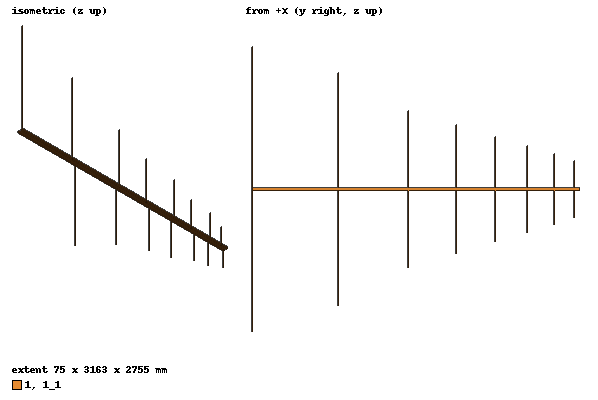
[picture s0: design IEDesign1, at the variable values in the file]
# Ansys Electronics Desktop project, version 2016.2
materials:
  vacuum: permittivity=1
  copper: permeability=0.999991 conductivity=58000000
  aluminum: permeability=1.000021 conductivity=38000000

design IEDesign1 (HFSS-IE, model units mm)
options: PECThreshold=1e+030 CondThreshold=10000
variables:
  wx = 2.5cm
  wz = 2.5cm
  wy = d1+d2+d3+d4+d5+d6+d7+e
  teta = 0deg
  d1 = 0.827meter
  L1 = -2.78meter
  L2 = 2.28meter
  d2 = 0.679meter
  d3 = 0.459meter
  d4 = 0.378meter
  d5 = 0.31meter
  d6 = 0.255meter
  d7 = 0.2meter
  L3 = -1.54meter
  L4 = 1.27meter
  L5 = -1.04meter
  L6 = 0.856meter
  L7 = 0.704meter
  L8 = 0.578meter
  e = 0.05meter
  alfa = 0.15deg
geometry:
  coordinate_system cordinate1 = origin=(wx/2, 0cm, 0cm) x=(1cm, 0cm, 0cm) y=(0cm, 1cm, 0cm)
  Box1 = box(corner=(0mm, 0mm, -wz/2), size=(wx, wy, wz)) in cordinate1
  coordinate_system dordinate2 = origin=(-wx/2, 0cm, 0cm) x=(1cm, 0cm, 0cm) y=(0cm, 1cm, 0cm)
  Box2 = box(corner=(0mm, 0mm, -wz/2), size=(-wx, wy, wz)) in dordinate2
  Box1.rotate(axis=Z, angle=teta) in dordinate2
  Box2.rotate(axis=Z, angle=-teta) in dordinate2
  1 [copper] = cylinder(axis=Z, base_centre=(-wx/2, 0mm, -1.25cm), radius=0.5cm, height=-L1/2) in dordinate2
  2 = cylinder(axis=Z, base_centre=(-wx/2, d1, 1.25cm), radius=0.5cm, height=-L2/2) in dordinate2
  3 = cylinder(axis=Z, base_centre=(-wx/2, d1+d2, -1.25cm), radius=0.5cm, height=-L3/2) in dordinate2
  4 = cylinder(axis=Z, base_centre=(-wx/2, d1+d2+d3, 1.25cm), radius=0.5cm, height=-L4/2) in dordinate2
  5 = cylinder(axis=Z, base_centre=(-wx/2, d1+d2+d3+d4, -1.25cm), radius=0.5cm, height=-L5/2) in dordinate2
  6 = cylinder(axis=Z, base_centre=(-wx/2, d1+d2+d3+d4+d5, 1.25cm), radius=0.5cm, height=-L6/2) in dordinate2
  7 = cylinder(axis=Z, base_centre=(-wx/2, d1+d2+d3+d4+d5+d6, -1.25cm), radius=0.5cm, height=L7/2) in dordinate2
  8 = cylinder(axis=Z, base_centre=(-wx/2, d1+d2+d3+d4+d5+d6+d7, 1.25cm), radius=0.5cm, height=-L8/2) in dordinate2
  1_1 [copper] = cylinder(axis=Z, base_centre=(wx/2, 0mm, 1.25cm), radius=0.5cm, height=L1/2) in cordinate1
  2_2 = cylinder(axis=Z, base_centre=(wx/2, d1, -1.25cm), radius=0.5cm, height=L2/2) in cordinate1
  3_3 = cylinder(axis=Z, base_centre=(wx/2, d1+d2, 1.25cm), radius=0.5cm, height=L3/2) in cordinate1
  4_4 = cylinder(axis=Z, base_centre=(wx/2, d1+d2+d3, -1.25cm), radius=0.5cm, height=L4/2) in cordinate1
  5_5 = cylinder(axis=Z, base_centre=(wx/2, d1+d2+d3+d4, 1.25cm), radius=0.5cm, height=L5/2) in cordinate1
  6_6 = cylinder(axis=Z, base_centre=(wx/2, d1+d2+d3+d4+d5, -1.25cm), radius=0.5cm, height=L6/2) in cordinate1
  7_7 = cylinder(axis=Z, base_centre=(wx/2, d1+d2+d3+d4+d5+d6, 1.25cm), radius=0.5cm, height=-L7/2) in cordinate1
  8_8 = cylinder(axis=Z, base_centre=(wx/2, d1+d2+d3+d4+d5+d6+d7, -1.25cm), radius=0.5cm, height=L8/2) in cordinate1
  Polyline1 [Copper] = polyline(y=d1+d2+d3+d4+d5+d6+d7+e/2, xz in mm: (-25, -6.25) (-25, 6.25) (5, 6.25) (5, -6.25) (-25, -6.25), closed, covered) in cordinate1
  8_9 = 8.copy()
  8_8_1 = 8_8.copy()
  Polyline1.subtract(8_9, 8_8_1)
  1.unite(2..5, 7, 8, Box2, 6)
  1_1.unite(2_2, 3_3, 4_4, 5_5, 6_6, 7_7, Box1, 8_8)
  1.rotate(axis=Z, angle=-alfa/2)
  1_1.rotate(axis=Z, angle=alfa/2)
  1_2 = 1.copy()
  1_1_1 = 1_1.copy()
  Polyline1.subtract(1_2, 1_1_1)
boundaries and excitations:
  LumpPort1: LumpedPort Faces=Polyline1.face(at (2.5, 3133, 0))
  Polyline1_T1: Terminal port=LumpPort1 Edges=Polyline1.edge(at (-8.39892, 3133, 0)) TerminalResistance=50ohm
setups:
  Setup1: HFIESetup MaximumPasses=6 MinimumPasses=3 MinimumConvergedPasses=1 PercentRefinement=30 AdaptiveFreq=130MHz UseDefaultLambdaTarget Target=0.15 MaxDeltaS=0.02 MaxDeltaE=0.1 UseIESolver
    sweep Sweep1: 54MHz to 216MHz step 15MHz; Type=Discrete SaveFields
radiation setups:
  Infinite Sphere1: Infinite Sphere Theta=-180deg..180deg step 10deg Phi=0deg..360deg step 10deg
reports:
  XY Plot 5: VSWR(Polyline1_T1) vs Freq on Setup1 : Sweep1
  XY Plot 11: dB(GainTotal) vs Freq on Setup1 : Sweep1 [Phi=90deg Theta=90deg]
